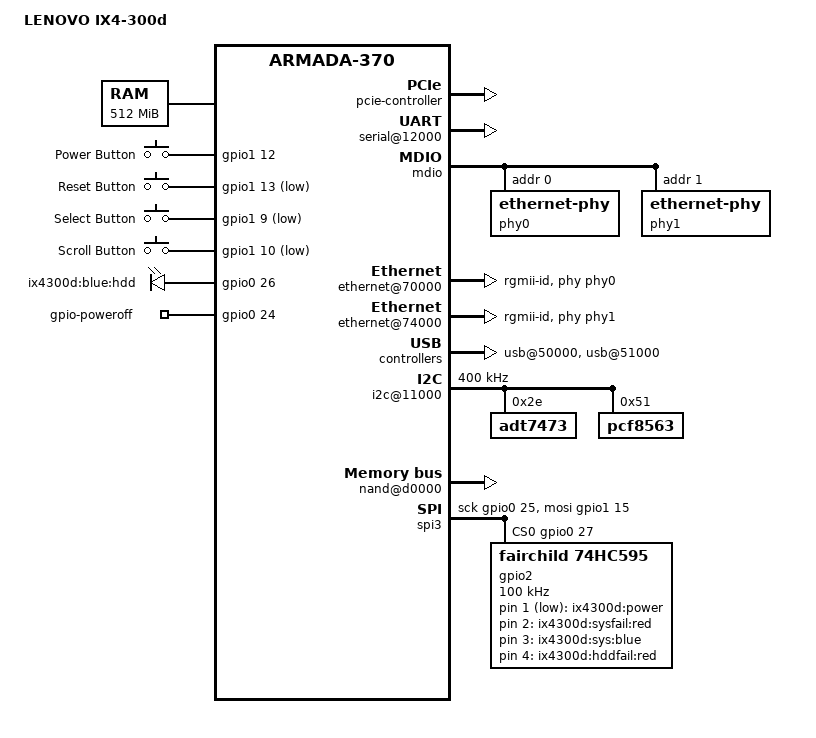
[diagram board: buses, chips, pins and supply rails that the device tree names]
/*
 * Device Tree file for LENOVO IX4-300d
 *
 * Copyright (C) 2014, Benoit Masson <yahoo@perenite.com>
 *
 * This program is free software; you can redistribute it and/or
 * modify it under the terms of the GNU General Public License
 * as published by the Free Software Foundation; either version
 * 2 of the License, or (at your option) any later version.
 */

/dts-v1/;

#include <dt-bindings/input/input.h>
#include <dt-bindings/gpio/gpio.h>
#include "armada-xp-mv78230.dtsi"

/ {
	model = "LENOVO IX4-300d";
	compatible = "lenovo,ix4-300d", "marvell,armadaxp-mv78230", "marvell,armadaxp", "marvell,armada-370-xp";

	chosen {
		bootargs = "console=ttyS0,115200 earlyprintk";
	};

	memory {
		device_type = "memory";
		reg = <0 0x00000000 0 0x20000000>; /* 512MB */
	};

	soc {
		ranges = <MBUS_ID(0xf0, 0x01) 0 0 0xd0000000 0x100000
			  MBUS_ID(0x01, 0x1d) 0 0 0xfff00000 0x100000>;

		pcie-controller {
			status = "okay";

			pcie@1,0 {
				/* Port 0, Lane 0 */
				status = "okay";
			};
			pcie@5,0 {
                                /* Port 1, Lane 0 */
                                status = "okay";
                        };

		};

		internal-regs {
			pinctrl {
				poweroff: poweroff {
                                        marvell,pins = "mpp24";
                                        marvell,function = "gpio";
                                };

                                power_button_pin: power-button-pin {
                                        marvell,pins = "mpp44";
                                        marvell,function = "gpio";
                                };

                                reset_button_pin: reset-button-pin {
                                        marvell,pins = "mpp45";
                                        marvell,function = "gpio";
                                };
				select_button_pin: select-button-pin {
                                        marvell,pins = "mpp41";
                                        marvell,function = "gpio";
                                };

                                scroll_button_pin: scroll-button-pin {
                                        marvell,pins = "mpp42";
                                        marvell,function = "gpio";
                                };
				hdd_led_pin: hdd-led-pin {
					marvell,pins = "mpp26";
					marvell,function = "gpio";
		                };
			};

			serial@12000 {
				clocks = <&coreclk 0>;
				status = "okay";
			};

			mdio {
				phy0: ethernet-phy@0 { /* Marvell 88E1318 */
					reg = <0>;
				};

				phy1: ethernet-phy@1 { /* Marvell 88E1318 */
					reg = <1>;
				};
			};

			ethernet@70000 {
				status = "okay";
				phy = <&phy0>;
				phy-mode = "rgmii-id";
			};

			ethernet@74000 {
				status = "okay";
				phy = <&phy1>;
				phy-mode = "rgmii-id";
			};

			usb@50000 {
                                status = "okay";
                        };

                        usb@51000 {
                                status = "okay";
                        };

			i2c@11000 {
				compatible = "marvell,mv78230-a0-i2c", "marvell,mv64xxx-i2c";
                                clock-frequency = <400000>;
				status = "okay";

				adt7473@2e {
					compatible = "adt7473";
					reg = <0x2e>;
				};

				pcf8563@51 {
					compatible = "pcf8563";
					reg = <0x51>;
				}; 
                     
			};
			nand@d0000 {
                                status = "okay";
                                num-cs = <1>;
                                marvell,nand-keep-config;
                                marvell,nand-enable-arbiter;
                                nand-on-flash-bbt;

                                partition@0 {
                                        label = "u-boot";
                                        reg = <0x0000000 0xe0000>;
                                        read-only;
                                };

                                partition@e0000 {
                                        label = "u-boot-env";
                                        reg = <0xe0000 0x20000>;
                                        read-only;
                                };

                                partition@100000 {
                                        label = "u-boot-env2";
                                        reg = <0x100000 0x20000>;
					read-only;
                                };

                                partition@120000 {
                                        label = "zImage";
                                        reg = <0x120000 0x400000>;
                                };

                                partition@520000 {
                                        label = "initrd";
                                        reg = <0x520000 0x400000>;
                                };
                                partition@xE00000 {
                                        label = "boot";
                                        reg = <0xE00000 0x3F200000>;
                                };
                                partition@flash {
                                        label = "flash";
                                        reg = <0x0 0x40000000>;
                                };
                        };

		};
	};
	gpio-keys {
                compatible = "gpio-keys";
		pinctrl-0 = <&power_button_pin &reset_button_pin &select_button_pin &scroll_button_pin>;
                pinctrl-names = "default";

                power-button {
                        label = "Power Button";
                        linux,code = <KEY_POWER>;
                        gpios = <&gpio1 12 GPIO_ACTIVE_HIGH>;
                };
                reset-button {
                        label = "Reset Button";
                        linux,code = <KEY_RESTART>;
                        gpios = <&gpio1 13 GPIO_ACTIVE_LOW>;
                };
		select-button {
                        label = "Select Button";
                        linux,code = <BTN_SELECT>;
                        gpios = <&gpio1 9 GPIO_ACTIVE_LOW>;
                };
		scroll-button {
                        label = "Scroll Button";
                        linux,code = <KEY_SCROLLDOWN>;
                        gpios = <&gpio1 10 GPIO_ACTIVE_LOW>;
                };
        };
	
	spi3 {
                compatible = "spi-gpio";
                status = "okay";
                gpio-sck = <&gpio0 25 0>;
                gpio-mosi = <&gpio1 15 0>; /*gpio 47*/
                cs-gpios = <&gpio0 27 0 >;
                num-chipselects = <1>;
                #address-cells = <1>;
                #size-cells = <0>;

                gpio2: gpio2@0 {
                        compatible = "fairchild,74hc595";
                        gpio-controller;
                        #gpio-cells = <2>;
                        reg = <0>;
                        registers-number = <2>;
                        spi-max-frequency = <100000>;
                };
	};

	gpio-leds {
                compatible = "gpio-leds";
		pinctrl-0 = <&hdd_led_pin>;
		pinctrl-names = "default";
	
		hdd-led {
                        label = "ix4300d:blue:hdd";
                        gpios = <&gpio0 26 GPIO_ACTIVE_HIGH>;
                        default-state = "off";
                };

		power-led {
                        label = "ix4300d:power";
                        gpios = <&gpio2 1 GPIO_ACTIVE_LOW>;
			linux,default-trigger = "timer"; /* init blinking while booting */
                        default-state = "on";
                };
		
		sysfail-led {
                        label = "ix4300d:sysfail:red";
                        gpios = <&gpio2 2 GPIO_ACTIVE_HIGH>;
                        default-state = "off";
                };
		sys-led {
                        label = "ix4300d:sys:blue";
                        gpios = <&gpio2 3 GPIO_ACTIVE_HIGH>;
                        default-state = "off";
                };
		hddfail-led {
                        label = "ix4300d:hddfail:red";
                        gpios = <&gpio2 4 GPIO_ACTIVE_HIGH>;
                        default-state = "off";
                };

	};
	/* warning: you need both eth1 & 0 to be initialize for poweroff to shutdown otherwise it reboots */
	gpio-poweroff {
                compatible = "gpio-poweroff";
                pinctrl-0 = <&poweroff>;
                pinctrl-names = "default";
                gpios = <&gpio0 24 GPIO_ACTIVE_HIGH>;
        };

};
